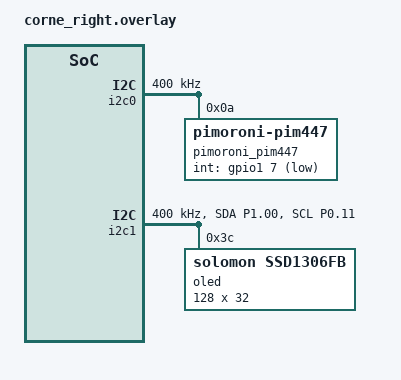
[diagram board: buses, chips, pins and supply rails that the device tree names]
#include "corne.dtsi"
#include <dt-bindings/behavior_pim447.h>
#include <dt-bindings/zmk/mouse.h>

&default_transform {
	col-offset = <6>;
};

&kscan0 {
	col-gpios
		= <&pro_micro 14 GPIO_ACTIVE_HIGH>
		, <&pro_micro 15 GPIO_ACTIVE_HIGH>
		, <&pro_micro 18 GPIO_ACTIVE_HIGH>
		, <&pro_micro 19 GPIO_ACTIVE_HIGH>
		, <&pro_micro 20 GPIO_ACTIVE_HIGH>
		, <&pro_micro 21 GPIO_ACTIVE_HIGH>
		;
};

/ {
    chosen {
        zephyr,display = &oled;
    };

    pim447_listener: pim447_listener {
        compatible = "zmk,input-listener";
        status = "okay";
        device = <&pimoroni_pim447>;
    };
};



// &pro_micro_i2c {
&i2c0 {
    status = "okay";
    clock-frequency = <I2C_BITRATE_FAST>;
    // I2C_BITRATE_STANDARD   100000
    // I2C_BITRATE_FAST   400000
    
    pimoroni_pim447: pimoroni_pim447@a {
        compatible = "zmk,pimoroni-pim447";
        status = "okay";
		int-gpios = <&gpio1 7 (GPIO_PULL_UP | GPIO_ACTIVE_LOW)>;
        reg = <0xa>;
        automouse-layer = < 2 >;
	 };
};

&pinctrl {
    i2c1_default: i2c1_default {
        group1 {
            psels = <NRF_PSEL(TWIM_SDA, 1, 00)>,
                    <NRF_PSEL(TWIM_SCL, 0, 11)>;
            bias-pull-up;
        };
    };

    i2c1_sleep: i2c1_sleep {
        group1 {
            psels = <NRF_PSEL(TWIM_SDA, 1, 00)>,
                    <NRF_PSEL(TWIM_SCL, 0, 11)>;
            low-power-enable;
            bias-pull-up;
        };
    };
};

&i2c1 {
    status = "okay";
    clock-frequency = <I2C_BITRATE_FAST>;

    compatible = "nordic,nrf-twi";
    pinctrl-0 = <&i2c1_default>;
    pinctrl-1 = <&i2c1_sleep>;
    pinctrl-names = "default", "sleep";

    oled: ssd1306@3c {
        compatible = "solomon,ssd1306fb";
        reg = <0x3c>;
        width = <128>;
        height = <32>;
        segment-offset = <0>;
        page-offset = <0>;
        display-offset = <0>;
        multiplex-ratio = <31>;
        segment-remap;
        com-invdir;
        inversion-on;
        prechargep = <0x22>;
    };
};
